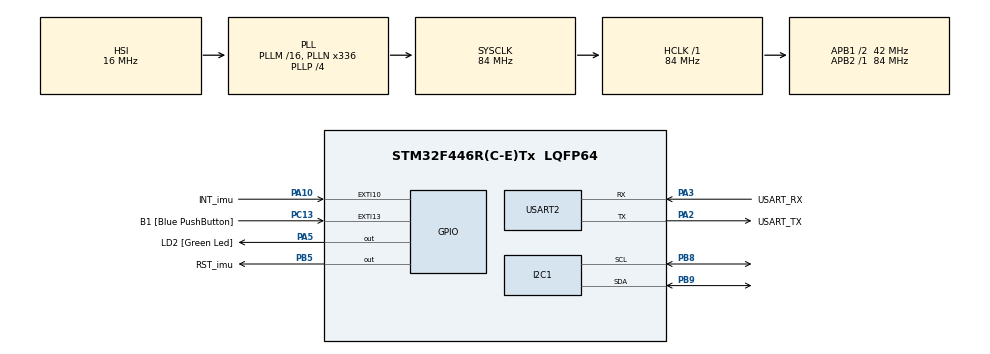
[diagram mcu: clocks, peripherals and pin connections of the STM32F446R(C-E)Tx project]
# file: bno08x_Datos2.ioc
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I2C1.I2C_Mode=I2C_Fast
Mcu.Family=STM32F4
Mcu.Name=STM32F446R(C-E)Tx
Mcu.Package=LQFP64
NVIC.EXTI15_10_IRQn=true\:0\:0\:false\:false\:true\:true\:true\:true
NVIC.PriorityGroup=NVIC_PRIORITYGROUP_0
PA10.GPIO_Label=INT_imu
PA10.GPIO_ModeDefaultEXTI=GPIO_MODE_IT_FALLING
PA10.GPIO_PuPd=GPIO_PULLUP
PA10.Signal=GPXTI10
PA13.GPIO_Label=TMS
PA13.Mode=Serial_Wire
PA13.Signal=SYS_JTMS-SWDIO
PA14.GPIO_Label=TCK
PA14.Mode=Serial_Wire
PA14.Signal=SYS_JTCK-SWCLK
PA2.GPIO_Label=USART_TX
PA2.Mode=Asynchronous
PA2.Signal=USART2_TX
PA3.GPIO_Label=USART_RX
PA3.Mode=Asynchronous
PA3.Signal=USART2_RX
PA5.GPIO_Label=LD2 [Green Led]
PA5.Signal=GPIO_Output
PB3.GPIO_Label=SWO
PB3.Signal=SYS_JTDO-SWO
PB5.GPIO_Label=RST_imu
PB5.Signal=GPIO_Output
PB8.Mode=I2C
PB8.Signal=I2C1_SCL
PB9.Mode=I2C
PB9.Signal=I2C1_SDA
PC13.GPIO_Label=B1 [Blue PushButton]
PC13.GPIO_ModeDefaultEXTI=GPIO_MODE_IT_FALLING
PC13.Signal=GPXTI13
PC14-OSC32_IN.Mode=LSE-External-Oscillator
PC14-OSC32_IN.Signal=RCC_OSC32_IN
PC15-OSC32_OUT.Mode=LSE-External-Oscillator
PC15-OSC32_OUT.Signal=RCC_OSC32_OUT
PH0-OSC_IN.Mode=HSE-External-Oscillator
PH0-OSC_IN.Signal=RCC_OSC_IN
PH1-OSC_OUT.Mode=HSE-External-Oscillator
PH1-OSC_OUT.Signal=RCC_OSC_OUT
ProjectManager.HeapSize=0x200
ProjectManager.StackSize=0x400
ProjectManager.TargetToolchain=STM32CubeIDE
RCC.48MHZClocksFreq_Value=84000000
RCC.AHBFreq_Value=84000000
RCC.APB1CLKDivider=RCC_HCLK_DIV2
RCC.APB1Freq_Value=42000000
RCC.APB1TimFreq_Value=84000000
RCC.APB2Freq_Value=84000000
RCC.APB2TimFreq_Value=84000000
RCC.CortexFreq_Value=84000000
RCC.FLatency-AdvancedSettings=FLASH_LATENCY_2
RCC.HCLKFreq_Value=84000000
RCC.HSE_VALUE=8000000
RCC.HSI_VALUE=16000000
RCC.PLLN=336
RCC.PLLP=RCC_PLLP_DIV4
RCC.SYSCLKFreq_VALUE=84000000
RCC.SYSCLKSource=RCC_SYSCLKSOURCE_PLLCLK
RCC.USBFreq_Value=168000000
RCC.VCOOutputFreq_Value=336000000
USART2.VirtualMode=VM_ASYNC
board=NUCLEO-F446RE

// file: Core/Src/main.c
/* USER CODE BEGIN Header */
/**
  ******************************************************************************
  * @file           : main.c
  * @brief          : Main program body
  ******************************************************************************
  * @attention
  *
  * Copyright (c) 2026 STMicroelectronics.
  * All rights reserved.
  *
  * This software is licensed under terms that can be found in the LICENSE file
  * in the root directory of this software component.
  * If no LICENSE file comes with this software, it is provided AS-IS.
  *
  ******************************************************************************
  */
/* USER CODE END Header */
#include "main.h"

/* USER CODE BEGIN Includes */
#include "sh2.h"
#include "sh2_err.h"
#include "sh2_SensorValue.h"
#include <stdio.h> // Para usar printf si tienes redirección a UART

/* USER CODE END Includes */

I2C_HandleTypeDef hi2c1;

UART_HandleTypeDef huart2;

/* USER CODE BEGIN PV */
sh2_SensorValue_t sensorValue;
extern sh2_Hal_t bno_hal; // Viene de nuestro archivo port.c
volatile uint8_t bno_data_ready = 0;
/* USER CODE END PV */

void SystemClock_Config(void);
static void MX_GPIO_Init(void);
static void MX_USART2_UART_Init(void);
static void MX_I2C1_Init(void);
/* USER CODE BEGIN PFP */
void BNO08x_HardwareReset(void);
/* USER CODE END PFP */

/* USER CODE BEGIN 0 */
void sensorHandler(void *cookie, sh2_SensorEvent_t *event) {
    // Esta función se llama automáticamente cada vez que llega un dato
    sh2_decodeSensorEvent(&sensorValue, event);
}
/* USER CODE END 0 */

int main(void)
{

  /* MCU Configuration--------------------------------------------------------*/

  /* Reset of all peripherals, Initializes the Flash interface and the Systick. */
  HAL_Init();

  /* Configure the system clock */
  SystemClock_Config();

  /* Initialize all configured peripherals */
  MX_GPIO_Init();
  MX_USART2_UART_Init();
  MX_I2C1_Init();
  /* USER CODE BEGIN 2 */
  HAL_UART_Transmit(&huart2, (uint8_t*)"\r\n--- INICIANDO SISTEMA ---\r\n", 30, 100);

    // 1. Declarar la estructura de configuración (ESTO ES LO QUE TE FALTA)
    sh2_SensorConfig_t config;
    config.reportInterval_us = 50000; // 20Hz

    // 2. Abrir el sensor
    if (sh2_open(&bno_hal, NULL, NULL) == SH2_OK) {
        HAL_UART_Transmit(&huart2, (uint8_t*)"BNO08x detectado!\r\n", 19, 100);
        sh2_setSensorCallback(sensorHandler, NULL);

        // 3. Activar el reporte usando la variable 'config' que declaramos arriba
        sh2_setSensorConfig(SH2_ACCELEROMETER, &config);
    }
  /* USER CODE END 2 */

  /* Infinite loop */
  while (1)
  {

    /* USER CODE BEGIN 3 */
	  // 1. Llamamos al servicio. Intentará leer el I2C aunque no haya interrupción.
	      sh2_service();

	      // 2. Verificamos si hay un dato nuevo procesado por el sensorHandler
	      if (sensorValue.sensorId != 0) {
	          char msg[64];

	          // Si el ID es el del acelerómetro (ID: 1) o Rotación (ID: 5 o 13)
	          if (sensorValue.sensorId == SH2_ACCELEROMETER) {
	              int x_val = (int)(sensorValue.un.accelerometer.x * 100);
	              int len = sprintf(msg, "ACCEL -> X: %d\r\n", x_val);
	              HAL_UART_Transmit(&huart2, (uint8_t*)msg, len, 100);
	          }
	          else {
	              // Imprime cualquier otro ID que llegue (Control, Gyro, etc.)
	              int len = sprintf(msg, "ID Detectado: %d\r\n", sensorValue.sensorId);
	              HAL_UART_Transmit(&huart2, (uint8_t*)msg, len, 100);
	          }

	          // IMPORTANTE: Limpiar el ID para permitir la siguiente lectura
	          sensorValue.sensorId = 0;
	      }

	      // Pequeño delay para no saturar el bus I2C (Arduino suele hacerlo internamente)
	      HAL_Delay(10);

	    }
  /* USER CODE END 3 */
}

void SystemClock_Config(void)
{
  RCC_OscInitTypeDef RCC_OscInitStruct = {0};
  RCC_ClkInitTypeDef RCC_ClkInitStruct = {0};

  /** Configure the main internal regulator output voltage
  */
  __HAL_RCC_PWR_CLK_ENABLE();
  __HAL_PWR_VOLTAGESCALING_CONFIG(PWR_REGULATOR_VOLTAGE_SCALE3);

  /** Initializes the RCC Oscillators according to the specified parameters
  * in the RCC_OscInitTypeDef structure.
  */
  RCC_OscInitStruct.OscillatorType = RCC_OSCILLATORTYPE_HSI;
  RCC_OscInitStruct.HSIState = RCC_HSI_ON;
  RCC_OscInitStruct.HSICalibrationValue = RCC_HSICALIBRATION_DEFAULT;
  RCC_OscInitStruct.PLL.PLLState = RCC_PLL_ON;
  RCC_OscInitStruct.PLL.PLLSource = RCC_PLLSOURCE_HSI;
  RCC_OscInitStruct.PLL.PLLM = 16;
  RCC_OscInitStruct.PLL.PLLN = 336;
  RCC_OscInitStruct.PLL.PLLP = RCC_PLLP_DIV4;
  RCC_OscInitStruct.PLL.PLLQ = 2;
  RCC_OscInitStruct.PLL.PLLR = 2;
  if (HAL_RCC_OscConfig(&RCC_OscInitStruct) != HAL_OK)
  {
    Error_Handler();
  }

  /** Initializes the CPU, AHB and APB buses clocks
  */
  RCC_ClkInitStruct.ClockType = RCC_CLOCKTYPE_HCLK|RCC_CLOCKTYPE_SYSCLK
                              |RCC_CLOCKTYPE_PCLK1|RCC_CLOCKTYPE_PCLK2;
  RCC_ClkInitStruct.SYSCLKSource = RCC_SYSCLKSOURCE_PLLCLK;
  RCC_ClkInitStruct.AHBCLKDivider = RCC_SYSCLK_DIV1;
  RCC_ClkInitStruct.APB1CLKDivider = RCC_HCLK_DIV2;
  RCC_ClkInitStruct.APB2CLKDivider = RCC_HCLK_DIV1;

  if (HAL_RCC_ClockConfig(&RCC_ClkInitStruct, FLASH_LATENCY_2) != HAL_OK)
  {
    Error_Handler();
  }
}

static void MX_I2C1_Init(void)
{

  hi2c1.Instance = I2C1;
  hi2c1.Init.ClockSpeed = 400000;
  hi2c1.Init.DutyCycle = I2C_DUTYCYCLE_2;
  hi2c1.Init.OwnAddress1 = 0;
  hi2c1.Init.AddressingMode = I2C_ADDRESSINGMODE_7BIT;
  hi2c1.Init.DualAddressMode = I2C_DUALADDRESS_DISABLE;
  hi2c1.Init.OwnAddress2 = 0;
  hi2c1.Init.GeneralCallMode = I2C_GENERALCALL_DISABLE;
  hi2c1.Init.NoStretchMode = I2C_NOSTRETCH_DISABLE;
  if (HAL_I2C_Init(&hi2c1) != HAL_OK)
  {
    Error_Handler();
  }

}

static void MX_USART2_UART_Init(void)
{

  huart2.Instance = USART2;
  huart2.Init.BaudRate = 115200;
  huart2.Init.WordLength = UART_WORDLENGTH_8B;
  huart2.Init.StopBits = UART_STOPBITS_1;
  huart2.Init.Parity = UART_PARITY_NONE;
  huart2.Init.Mode = UART_MODE_TX_RX;
  huart2.Init.HwFlowCtl = UART_HWCONTROL_NONE;
  huart2.Init.OverSampling = UART_OVERSAMPLING_16;
  if (HAL_UART_Init(&huart2) != HAL_OK)
  {
    Error_Handler();
  }

}

static void MX_GPIO_Init(void)
{
  GPIO_InitTypeDef GPIO_InitStruct = {0};

  /* GPIO Ports Clock Enable */
  __HAL_RCC_GPIOC_CLK_ENABLE();
  __HAL_RCC_GPIOH_CLK_ENABLE();
  __HAL_RCC_GPIOA_CLK_ENABLE();
  __HAL_RCC_GPIOB_CLK_ENABLE();

  /*Configure GPIO pin Output Level */
  HAL_GPIO_WritePin(LD2_GPIO_Port, LD2_Pin, GPIO_PIN_RESET);

  /*Configure GPIO pin Output Level */
  HAL_GPIO_WritePin(RST_imu_GPIO_Port, RST_imu_Pin, GPIO_PIN_RESET);

  /*Configure GPIO pin : B1_Pin */
  GPIO_InitStruct.Pin = B1_Pin;
  GPIO_InitStruct.Mode = GPIO_MODE_IT_FALLING;
  GPIO_InitStruct.Pull = GPIO_NOPULL;
  HAL_GPIO_Init(B1_GPIO_Port, &GPIO_InitStruct);

  /*Configure GPIO pin : LD2_Pin */
  GPIO_InitStruct.Pin = LD2_Pin;
  GPIO_InitStruct.Mode = GPIO_MODE_OUTPUT_PP;
  GPIO_InitStruct.Pull = GPIO_NOPULL;
  GPIO_InitStruct.Speed = GPIO_SPEED_FREQ_LOW;
  HAL_GPIO_Init(LD2_GPIO_Port, &GPIO_InitStruct);

  /*Configure GPIO pin : INT_imu_Pin */
  GPIO_InitStruct.Pin = INT_imu_Pin;
  GPIO_InitStruct.Mode = GPIO_MODE_IT_FALLING;
  GPIO_InitStruct.Pull = GPIO_PULLUP;
  HAL_GPIO_Init(INT_imu_GPIO_Port, &GPIO_InitStruct);

  /*Configure GPIO pin : RST_imu_Pin */
  GPIO_InitStruct.Pin = RST_imu_Pin;
  GPIO_InitStruct.Mode = GPIO_MODE_OUTPUT_PP;
  GPIO_InitStruct.Pull = GPIO_NOPULL;
  GPIO_InitStruct.Speed = GPIO_SPEED_FREQ_LOW;
  HAL_GPIO_Init(RST_imu_GPIO_Port, &GPIO_InitStruct);

  /* EXTI interrupt init*/
  HAL_NVIC_SetPriority(EXTI15_10_IRQn, 0, 0);
  HAL_NVIC_EnableIRQ(EXTI15_10_IRQn);

}

/* USER CODE BEGIN 4 */
void HAL_GPIO_EXTI_Callback(uint16_t GPIO_Pin)
{
	if(GPIO_Pin == B1_Pin)
	{
		HAL_GPIO_TogglePin(GPIOA, LD2_Pin);
	}
	if(GPIO_Pin == INT_imu_Pin)
	{
		HAL_GPIO_TogglePin(GPIOA, LD2_Pin);
	}

	}
/* USER CODE END 4 */

void Error_Handler(void)
{
  __disable_irq();
  while (1)
  {
  }
}
